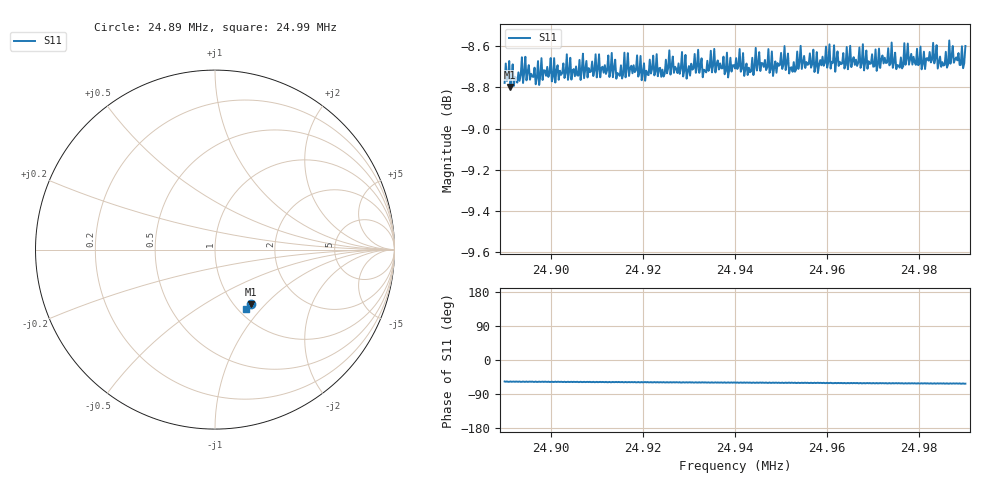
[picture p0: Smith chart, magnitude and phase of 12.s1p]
# Hz S RI R 50
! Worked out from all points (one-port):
!   401 points, 24.89 MHz to 24.99 MHz, reference 50 ohm
!   lowest |S11| = -8.8 dB at 24.8912 MHz (marker M1), VSWR 2.14, Z = 59.2 - j41.4 ohm
!   |S11| at or under -10 dB: nowhere
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2.489e7  0.2003 -0.3039
2.489125e7  0.1993 -0.3036
2.49025e7  0.1945 -0.31
2.491275e7  0.1942 -0.3093
2.4915e7  0.1912 -0.3114
2.491625e7  0.1931 -0.3099
2.492025e7  0.1918 -0.314
2.49225e7  0.1921 -0.311
2.49275e7  0.1885 -0.3138
2.49315e7  0.1897 -0.3131
2.493325e7  0.1858 -0.3161
2.4935e7  0.1888 -0.3137
2.494e7  0.1854 -0.3166
2.49475e7  0.1857 -0.3155
2.494875e7  0.1849 -0.3186
2.495025e7  0.1851 -0.3167
2.49525e7  0.1819 -0.3179
2.495375e7  0.1839 -0.3174
2.495775e7  0.1821 -0.3224
2.496e7  0.1825 -0.3185
2.4965e7  0.1796 -0.3253
2.49735e7  0.1784 -0.3214
2.4976e7  0.1744 -0.3254
2.49775e7  0.1761 -0.3278
2.4981e7  0.1752 -0.3264
2.498325e7  0.1756 -0.3234
2.4985e7  0.1714 -0.3259
2.499e7  0.1718 -0.3295
